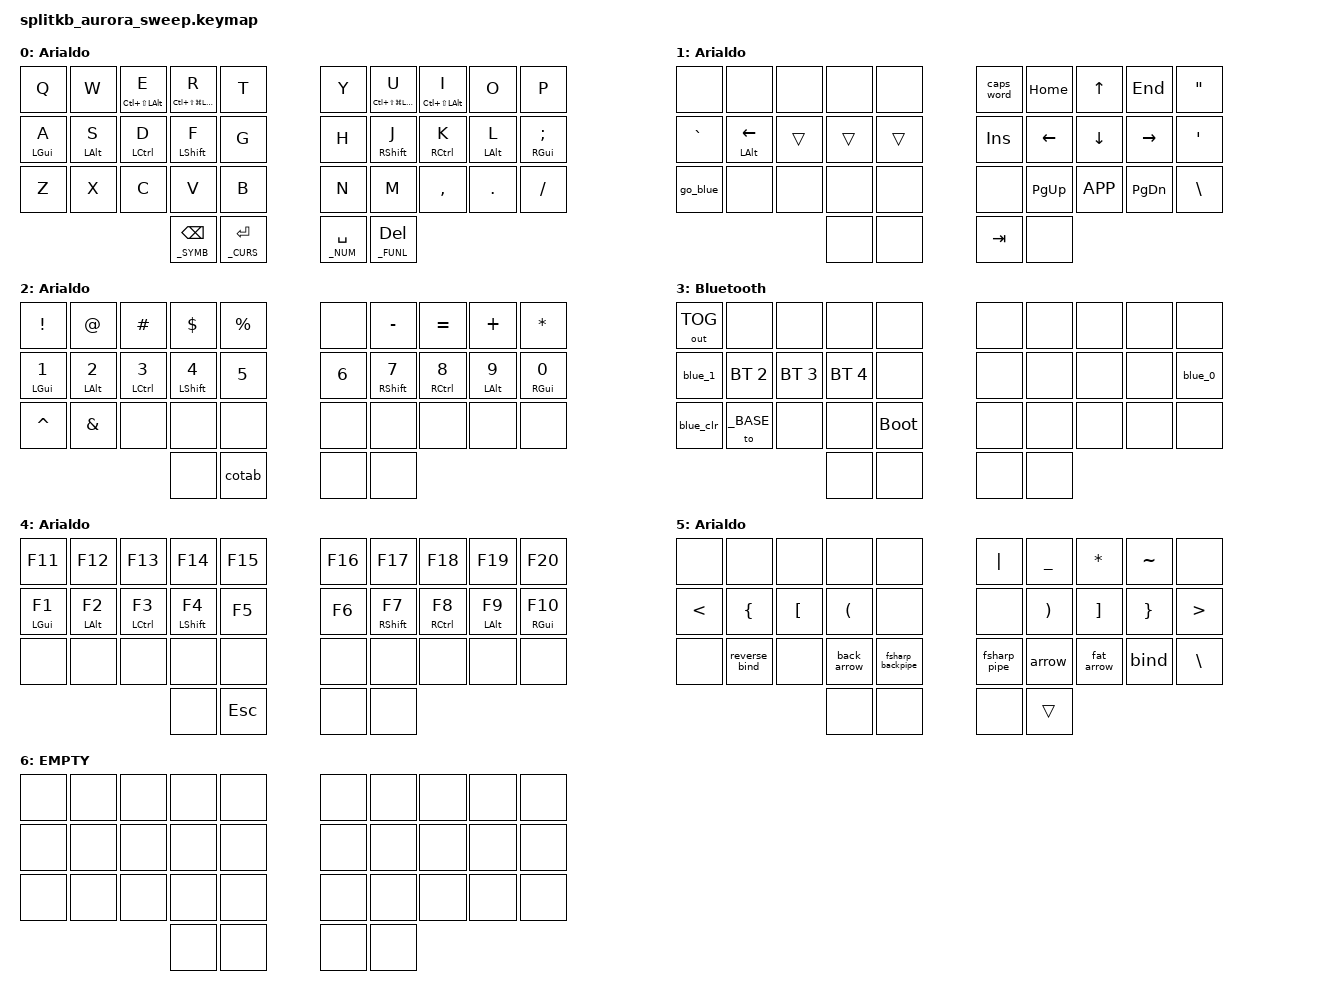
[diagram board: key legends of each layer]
/*
*
* Copyright (c) 2021 Darryl deHaan
* SPDX-License-Identifier: MIT
*
*/

#include <behaviors.dtsi>
#include <dt-bindings/zmk/keys.h>
#include <dt-bindings/zmk/bt.h>
#include <dt-bindings/zmk/outputs.h>

#define _BASE       0  // base keyboard
#define _CURS       1  // cursors
#define _NUM        2  // numbers and operations
#define _BLUETOOTH  3  // layer to manage blue tooth connection
#define _FUNL       4  // Function keys
#define _SYMB       5  // Parenthesis



// Left hand
#define MY_A       &mt LGUI A
#define MY_1       &mt LGUI N1
#define MY_F1      &mt LGUI F1

#define MY_E       &mt LC(LS(LALT)) E
#define MY_R       &mt LC(LS(LG(LALT))) R


#define MY_S       &mt LALT S
#define MY_2       &mt LALT N2
#define MY_F2      &mt LALT F2

#define MY_D       &mt LCTRL D
#define MY_3       &mt LCTRL N3
#define MY_F3      &mt LCTRL F3

#define MY_F       &mt LSHIFT F
#define MY_4       &mt LSHIFT N4
#define MY_F4      &mt LSHIFT F4

// Right hand
#define MY_I       &mt LC(LS(LALT)) I
#define MY_U       &mt LC(LS(LG(LALT))) U

#define MY_J       &mt RSHIFT J
#define MY_7       &mt RSHIFT N7
#define MY_F7      &mt RSHIFT F7

#define MY_K       &mt RCTRL K
#define MY_8       &mt RCTRL N8
#define MY_F8      &mt RCTRL F8

#define MY_L       &mt LALT L
#define MY_9       &mt LALT N9
#define MY_F9      &mt LALT F9

#define MY_SEMI    &mt RGUI SEMI
#define MY_0      &mt RGUI N0
#define MY_F10     &mt RGUI F10

// Thumb cluster
#define MY_RET     &lt _CURS RET
#define MY_BSPC    &lt _SYMB BSPC

#define MY_SPACE   &lt _NUM SPACE
#define MY_DEL     &lt _FUNL DEL


/ {
    combos {
        compatible = "zmk,combos";
        combo_T {
            timeout-ms = <50>;
            key-positions = <2 3>;
            bindings = <&kp T>;
        };

        combo_G {
            timeout-ms = <50>;
            key-positions = <12 13>;
            bindings = <&mt LC(LSHIFT) G>;
        };


        combo_B {
            timeout-ms = <50>;
            key-positions = <22 23>;
            bindings = <&kp B>;
        };
    };
};


/ {
    macros {
        arrow: arrow {
            compatible = "zmk,behavior-macro";
            #binding-cells = <0>;
            bindings = <&macro_tap &kp MINUS &kp GT>;
        };

        fat_arrow: fat_arrow {
            compatible = "zmk,behavior-macro";
            #binding-cells = <0>;
            bindings = <&macro_tap &kp EQUAL &kp GT>;
        };

        back_arrow: back_arrow {
            compatible = "zmk,behavior-macro";
            #binding-cells = <0>;
            bindings = <&macro_tap &kp LT &kp MINUS>;
        };

        fsharp_pipe: fsharp_pipe {
            compatible = "zmk,behavior-macro";
            #binding-cells = <0>;
            bindings = <&macro_tap &kp PIPE &kp GT>;
        };

        fsharp_backpipe: fsharp_backpipe {
            compatible = "zmk,behavior-macro";
            #binding-cells = <0>;
            bindings = <&macro_tap &kp LT &kp PIPE>;
        };

        bind: bind {
            compatible = "zmk,behavior-macro";
            #binding-cells = <0>;
            bindings = <&macro_tap &kp GT &kp GT &kp EQUAL>;
        };

        reverse_bind: reverse_bind {
            compatible = "zmk,behavior-macro";
            #binding-cells = <0>;
            bindings = <&macro_tap &kp EQUAL &kp LT &kp LT >;
        };



        cotab: cotab {
            compatible = "zmk,behavior-macro";
            #binding-cells = <0>;
            bindings
                = <&macro_press &kp LSHFT>
                , <&macro_tap &kp TAB>
                , <&macro_release &kp LSHFT>
                ;
        };

        go_blue: go_blue {
            compatible = "zmk,behavior-macro";
            #binding-cells = <0>;
            bindings
                = <&macro_tap &kp B  &kp T  &kp SPC>
                , <&to _BLUETOOTH>
                ;
        };

        blue_0: blue_0 {
            compatible = "zmk,behavior-macro";
            #binding-cells = <0>;
            bindings
                = <&macro_tap &kp B  &kp T  &kp MINUS  &kp N0  &kp SPC>
                , <&bt BT_SEL 0>
                ;
        };

        blue_1: blue_1 {
            compatible = "zmk,behavior-macro";
            #binding-cells = <0>;
            bindings
                = <&macro_tap &kp B  &kp T  &kp MINUS  &kp N1  &kp SPC>
                , <&bt BT_SEL 1>
                ;
        };


        blue_clr: blue_clr {
            compatible = "zmk,behavior-macro";
            #binding-cells = <0>;
            bindings
                = <&macro_tap &kp B  &kp T  &kp MINUS  &kp C &kp L &kp R  &kp SPC>
                , <&bt BT_CLR >
                ;
        };
    };
};


&mt {
    flavor = "tap-preferred";
    tapping-term-ms = <150>;
    quick-tap-ms = <120>;
    require-prior-idle-ms = <125>;
};

/ {
        keymap {
                compatible = "zmk,keymap";

                // _BASE 0
                default_layer {
                        label = "Arialdo";
//  ------------------------------    -----------------------------
// |  Q  |  W  |E/Meh|R/Hyp|  T  |   |  Y  |U/Hyp|I/Meh|  O  |  P  |
// |     |     |     |     |     |   |     |     |     |     |     |
//  ------------------------------    -----------------------------
// |  A  |  S  |  D  |  F  |  G  |   |  H  |  J  |  K  |  L  |  ;  |
// | GUI | ALT | CTL | SHT |     |   |     | SHT | CTL | ALT | GUI |
//  ------------------------------    -----------------------------
// |  Z  |  X  |  C  |  V  |  B  |   |  N  |  M  |  ,  |  .  |  /  |
// |     |     |     |     |     |   |     |     |     |     |     |
//  ------------------------------    -----------------------------
//
//                -----    -----       -----    -----
//               | BSP |  | RET |     |Space|  | DEL |
//               |_SYMB|  |_CURS|     |_NUM |  |_FUNL|
//                -----    -----       -----    -----

                        bindings = <
   &kp Q  &kp W  MY_E       MY_R     &kp T         &kp Y      MY_U     MY_I           &kp O    &kp P
   MY_A   MY_S   MY_D       MY_F     &kp G         &kp H      MY_J     MY_K            MY_L     MY_SEMI
   &kp Z  &kp X  &kp C      &kp V    &kp B         &kp N      &kp M    &kp COMMA       &kp DOT  &kp FSLH
                            MY_BSPC  MY_RET        MY_SPACE   MY_DEL
                        >;
                };

                // _CURS 1
                cursors_layer {
                        label = "Arialdo";

//  ------------------------------    -----------------------------
// |     |     |     |     |     |   | Caps| Home|  ^  | End |  "  |
// |     |     |     |     |     |   |     |     |     |     |     |
//  ------------------------------    -----------------------------
// |  `  | <-- |     |     |     |   | Ins | <-- | Down| --> | '   |
// |     |     |     |     |     |   |     |     |     |     |     |
//  ------------------------------    -----------------------------
// |_BLUE|     |     |     |     |   |     | PgUp|Contx|PgDwn|  \  |
// |     |     |     |     |     |   |     |     |     |     |     |
//  ------------------------------    -----------------------------
//
//                -----    -----       -----    -----
//               |     |  |     |     | TAB |  |     |
//               |     |  |     |     |     |  |     |
//                -----    -----       -----    -----


                        bindings = <
      &none      &none             &none        &none        &none          &caps_word   &kp HOME   &kp UP    &kp END    &kp DOUBLE_QUOTES
      &kp GRAVE  &mt LALT LEFT     &trans       &trans       &trans         &kp INS      &kp LEFT   &kp DOWN  &kp RIGHT  &kp SINGLE_QUOTE
      &go_blue   &none             &none        &none        &none          &none        &kp PG_UP  &kp K_APP &kp PG_DN  &kp BACKSLASH
                                                &none        &none          &kp TAB      &none
                        >;
                };


                // _NUM = 2
                numbers_layer {
                        label = "Arialdo";

//  ------------------------------    -----------------------------
// |  !  |  @  |  #  |  $  |  %  |   |     |  -  |  =  |  +  |  *  |
// |     |     |     |     |     |   |     |     |     |     |     |
//  ------------------------------    -----------------------------
// |  1  |  2  |  3  |  4  |  5  |   |  6  |  7  |  8  |  9  |  0  |
// |     |     |     |     |     |   |     |     |     |     |     |
//  ------------------------------    -----------------------------
// |  ^  |  &  |     |     |     |   |     |     |     |     |     |
// |     |     |     |     |     |   |     |     |     |     |     |
//  ------------------------------    -----------------------------
//
//                -----    -----       -----    -----
//               |     |  |CoTab|     |     |  |     |
//               |     |  |     |     |     |  |     |
//                -----    -----       -----    -----

                        bindings = <
      &kp EXCL     &kp AT       &kp HASH     &kp DLLR     &kp PERCENT    &none    &kp MINUS   &kp EQUAL   &kp PLUS  &kp STAR
      MY_1         MY_2         MY_3         MY_4         &kp N5         &kp N6   MY_7        MY_8        MY_9      MY_0
      &kp CARET    &kp AMPS     &none        &none        &none          &none    &none       &none       &none     &none
                                             &none        &cotab         &none    &none
                        >;
                };


                // _BLUETOOTH = 3
                bluetooth_layer {
                        label = "Bluetooth";

//  ------------------------------    -----------------------------
// |Tggle|     |     |     |     |   |     |     |     |     |     |
// |     |     |     |     |     |   |     |     |     |     |     |
//  ------------------------------    -----------------------------
// | BT1 | BT2 | BT3 | BT4 |     |   |     |     |     |     | BT0 |
// |     |     |     |     |     |   |     |     |     |     |     |
//  ------------------------------    -----------------------------
// | CLR |_BASE|     |     | BOOT|   |     |     |     |     |     |
// |     |     |     |     |     |   |     |     |     |     |     |
//  ------------------------------    -----------------------------
//
//                -----    -----       -----    -----
//               |     |  |     |     |     |  |     |
//               |     |  |     |     |     |  |     |
//                -----    -----       -----    -----


                        bindings = <
   &out OUT_TOG   &none         &none         &none         &none          &none    &none    &none   &none     &none
   &blue_1        &bt BT_SEL 2  &bt BT_SEL 3  &bt BT_SEL 4  &none          &none    &none    &none   &none     &blue_0
   &blue_clr      &to _BASE     &none         &none         &bootloader    &none    &none    &none   &none     &none
                          	                  &none         &none          &none    &none
                        >;
                };


                // _FUNL = 4
                function_layer {
                        label = "Arialdo";

//  ------------------------------    -----------------------------
// | F11 | F12 | F13 | F14 | F15 |   | F16 | F17 | F18 | F19 | F20 |
// |     |     |     |     |     |   |     |     |     |     |     |
//  ------------------------------    -----------------------------
// | F1  | F2  | F3  | F4  | F5  |   | F6  | F7  | F8  | F9  | F10 |
// |     |     |     |     |     |   |     |     |     |     |     |
//  ------------------------------    -----------------------------
// |     |     |     |     |     |   |     |     |     |     |     |
// |     |     |     |     |     |   |     |     |     |     |     |
//  ------------------------------    -----------------------------
//
//                -----    -----       -----    -----
//               |     |  | ESC |     |     |  |     |
//               |     |  |     |     |     |  |     |
//                -----    -----       -----    -----

                        bindings = <
      &kp F11      &kp F12      &kp F13      &kp F14      &kp F15        &kp F16  &kp F17  &kp F18  &kp F19  &kp F20
      MY_F1        MY_F2        MY_F3        MY_F4        &kp F5         &kp F6   MY_F7    MY_F8    MY_F9    MY_F10
      &none        &none        &none        &none        &none          &none    &none    &none    &none    &none
                                             &none        &kp ESC        &none    &none
                        >;
                };



                // _SYMB = 5
                symbols_layer {
                        label = "Arialdo";

//  ------------------------------    -----------------------------
// |     |     |     |     |     |   |  |  |  _  |  *  |  ~  |     |
// |     |     |     |     |     |   |     |     |     |     |     |
//  ------------------------------    -----------------------------
// |  <  |  {  |  [  |  (  |     |   |     |  )  |  ]  |  }  |  >  |
// |     |     |     |     |     |   |     |     |     |     |     |
//  ------------------------------    -----------------------------
// |     | =<< |     | <-  | <|  |   |  |> |  -> |  => | >>= | <*> |
// |     |     |     |     |     |   |     |     |     |     |     |
//  ------------------------------    -----------------------------
//
//                -----    -----       -----    -----
//               |     |  |     |     |     |  |     |
//               |     |  |     |     |     |  |     |
//                -----    -----       -----    -----

                        bindings = <
      &none        &none          &none        &none        &none             &kp PIPE     &kp UNDER  &kp STAR    &kp TILDE  &none
      &kp LT       &kp LBRC       &kp LBKT     &kp LPAR     &none             &none        &kp RPAR   &kp RBKT  &kp RBRC     &kp GT
      &none        &reverse_bind  &none        &back_arrow  &fsharp_backpipe  &fsharp_pipe &arrow     &fat_arrow    &bind    &kp BSLH
                          	                   &none        &none             &none  &trans
                        >;
                };


                // EMPTY = 6
                empty_layer {
                        label = "EMPTY";

//  ------------------------------    -----------------------------
// |     |     |     |     |     |   |     |     |     |     |     |
// |     |     |     |     |     |   |     |     |     |     |     |
//  ------------------------------    -----------------------------
// |     |     |     |     |     |   |     |     |     |     |     |
// |     |     |     |     |     |   |     |     |     |     |     |
//  ------------------------------    -----------------------------
// |     |     |     |     |     |   |     |     |     |     |     |
// |     |     |     |     |     |   |     |     |     |     |     |
//  ------------------------------    -----------------------------
//
//                -----    -----       -----    -----
//               |     |  |     |     |     |  |     |
//               |     |  |     |     |     |  |     |
//                -----    -----       -----    -----

                        bindings = <
   &none        &none        &none        &none        &none          &none    &none    &none   &none     &none
   &none        &none        &none        &none        &none          &none    &none    &none   &none     &none
   &none        &none        &none        &none        &none          &none    &none    &none   &none     &none
                                           &none       &none          &none  &none
                        >;
                };
        };
};
